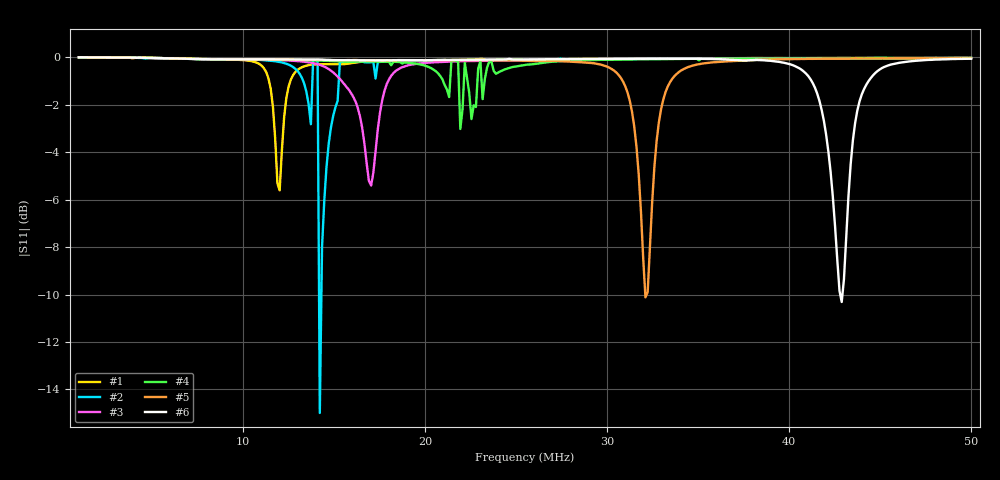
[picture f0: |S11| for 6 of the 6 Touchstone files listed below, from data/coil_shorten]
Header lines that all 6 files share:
# HZ S RI R 50
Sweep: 1 MHz to 50 MHz
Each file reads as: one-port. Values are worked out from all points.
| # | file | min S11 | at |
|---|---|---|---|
| 1 | idx_0.s1p | -5.6 dB | 12.03 MHz |
| 2 | idx_3.s1p | -15.0 dB | 14.23 MHz |
| 3 | idx_5.s1p | -5.4 dB | 17.05 MHz |
| 4 | idx_7.s1p | -3.0 dB | 21.95 MHz |
| 5 | idx_9.s1p | -10.1 dB | 32.12 MHz |
| 6 | idx_10.s1p | -10.3 dB | 42.9 MHz |
